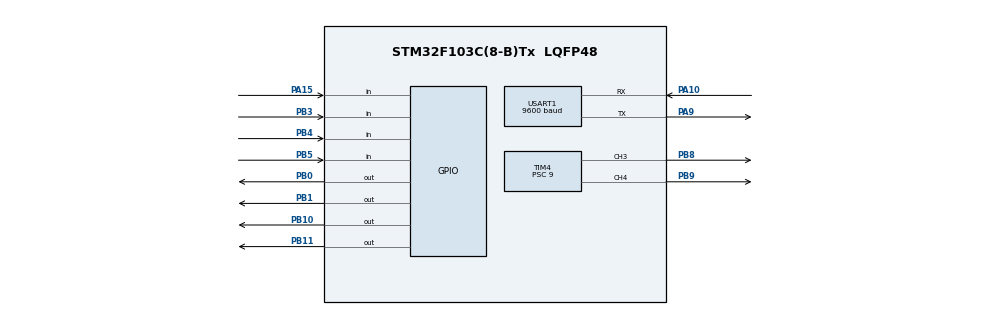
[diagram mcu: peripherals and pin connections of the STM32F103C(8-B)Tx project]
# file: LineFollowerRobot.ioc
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Dma.Request0=USART1_RX
Dma.Request1=USART1_TX
Dma.USART1_RX.0.Direction=DMA_PERIPH_TO_MEMORY
Dma.USART1_RX.0.Instance=DMA1_Channel5
Dma.USART1_RX.0.MemDataAlignment=DMA_MDATAALIGN_BYTE
Dma.USART1_RX.0.MemInc=DMA_MINC_ENABLE
Dma.USART1_RX.0.Mode=DMA_NORMAL
Dma.USART1_RX.0.PeriphDataAlignment=DMA_PDATAALIGN_BYTE
Dma.USART1_RX.0.PeriphInc=DMA_PINC_DISABLE
Dma.USART1_RX.0.Priority=DMA_PRIORITY_LOW
Dma.USART1_TX.1.Direction=DMA_MEMORY_TO_PERIPH
Dma.USART1_TX.1.Instance=DMA1_Channel4
Dma.USART1_TX.1.MemDataAlignment=DMA_MDATAALIGN_BYTE
Dma.USART1_TX.1.MemInc=DMA_MINC_ENABLE
Dma.USART1_TX.1.Mode=DMA_NORMAL
Dma.USART1_TX.1.PeriphDataAlignment=DMA_PDATAALIGN_BYTE
Dma.USART1_TX.1.PeriphInc=DMA_PINC_DISABLE
Dma.USART1_TX.1.Priority=DMA_PRIORITY_LOW
Mcu.Family=STM32F1
Mcu.Name=STM32F103C(8-B)Tx
Mcu.Package=LQFP48
NVIC.DMA1_Channel4_IRQn=true\:0\:0\:false\:false\:true\:false\:true
NVIC.DMA1_Channel5_IRQn=true\:0\:0\:false\:false\:true\:false\:true
NVIC.PriorityGroup=NVIC_PRIORITYGROUP_4
NVIC.TIM3_IRQn=true\:0\:0\:false\:false\:true\:true\:true
NVIC.USART1_IRQn=true\:0\:0\:false\:false\:true\:true\:true
PA10.Mode=Asynchronous
PA10.Signal=USART1_RX
PA13.Mode=Serial_Wire
PA13.Signal=SYS_JTMS-SWDIO
PA14.Mode=Serial_Wire
PA14.Signal=SYS_JTCK-SWCLK
PA15.Signal=GPIO_Input
PA9.Mode=Asynchronous
PA9.Signal=USART1_TX
PB0.Signal=GPIO_Output
PB1.Signal=GPIO_Output
PB10.Signal=GPIO_Output
PB11.Signal=GPIO_Output
PB3.Signal=GPIO_Input
PB4.Signal=GPIO_Input
PB5.Signal=GPIO_Input
PB8.Signal=S_TIM4_CH3
PB9.Signal=S_TIM4_CH4
PD0-OSC_IN.Mode=HSE-External-Oscillator
PD0-OSC_IN.Signal=RCC_OSC_IN
PD1-OSC_OUT.Mode=HSE-External-Oscillator
PD1-OSC_OUT.Signal=RCC_OSC_OUT
ProjectManager.HeapSize=0x200
ProjectManager.StackSize=0x400
ProjectManager.TargetToolchain=STM32CubeIDE
RCC.AHBFreq_Value=72000000
RCC.APB1CLKDivider=RCC_HCLK_DIV2
RCC.APB1Freq_Value=36000000
RCC.APB1TimFreq_Value=72000000
RCC.APB2Freq_Value=72000000
RCC.APB2TimFreq_Value=72000000
RCC.HCLKFreq_Value=72000000
RCC.PLLMUL=RCC_PLL_MUL9
RCC.PLLSourceVirtual=RCC_PLLSOURCE_HSE
RCC.SYSCLKFreq_VALUE=72000000
RCC.SYSCLKSource=RCC_SYSCLKSOURCE_PLLCLK
RCC.USBFreq_Value=72000000
SH.S_TIM4_CH3.0=TIM4_CH3,PWM Generation3 CH3
SH.S_TIM4_CH4.0=TIM4_CH4,PWM Generation4 CH4
TIM3.Period=199
TIM3.Prescaler=7199
TIM4.Channel-PWM\ Generation3\ CH3=TIM_CHANNEL_3
TIM4.Channel-PWM\ Generation4\ CH4=TIM_CHANNEL_4
TIM4.Period=254
TIM4.Prescaler=9
USART1.BaudRate=9600
USART1.VirtualMode=VM_ASYNC
VP_TIM3_VS_ClockSourceINT.Mode=Internal
VP_TIM4_VS_ClockSourceINT.Mode=Internal
board=custom

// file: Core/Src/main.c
/* USER CODE BEGIN Header */
/**
 ******************************************************************************
 * @file           : main.c
 * @brief          : Main program body
 ******************************************************************************
 * @attention
 *
 * <h2><center>&copy; Copyright (c) 2019 STMicroelectronics.
 * All rights reserved.</center></h2>
 *
 * This software component is licensed by ST under BSD 3-Clause license,
 * the "License"; You may not use this file except in compliance with the
 * License. You may obtain a copy of the License at:
 *                        opensource.org/licenses/BSD-3-Clause
 *
 ******************************************************************************
 */
/* USER CODE END Header */

#include "main.h"

/* USER CODE BEGIN Includes */
#include <PID.h>
#include <control.h>
#include "string.h"
#include "stdio.h"
#include <stdbool.h>
/* USER CODE END Includes */

/* USER CODE BEGIN PTD */
int kt = 0;
struct ControlPosition
{
    float vitri;
    bool goback;
};

struct ControlPosition vitri_st =
    { 0, false };

int presumindex = 0;
int i_SumIndexArry = 0;
static int demoutline = 0;
static struct ControlPosition previtri_st =
    { 0, false };
typedef enum
{
    STOP = 0,
    LINE_FOLLOW,
    MANUAL,
} mode;
mode mode_current = LINE_FOLLOW;
typedef enum
{
    LINE_OFF = 0,
    LINE_START,
} LINE_parameter;

typedef enum
{
    LINE_external = 0,
    LINE_internal,
} LINE_Control;

bool Line_ON = true;

void Control_Value_Line (int value);
void Control_vitri_Line (struct ControlPosition vitri_st);
void CONTROL ();

/* USER CODE END PTD */

/* USER CODE BEGIN PD */
typedef enum
{
    UART_START = 0,
    UART_APP,
} Uart_statemachine;
Uart_statemachine my_state = UART_START;
/* USER CODE END PD */

TIM_HandleTypeDef htim3;
TIM_HandleTypeDef htim4;
UART_HandleTypeDef huart1;
DMA_HandleTypeDef hdma_usart1_rx;
DMA_HandleTypeDef hdma_usart1_tx;

/* USER CODE BEGIN PV */
uint8_t pwm1 = 160;
uint8_t pwm2 = 160;
uint8_t offset = 10;
//uint8_t mode = 0;    // 2 : control   , 1: line follow
int i = 0;
int k = 0;
int kq = 0;
uint8_t S[4];
float result_PWM;
uint8_t Rx_buff[10];
PID_parameter PID_set_parameters =
    { .Kp = 30, .Ki = 0.0002, .Kd = 26, .Ts = 0.005, .PID_Saturation = 180,
            .error = 0, .pre_error = 0, .pre2_error = 0, .pre_Out = 0, .Out = 0 };
PID_parameter PID_set_parameters_160 =
    { .Kp = 30, .Ki = 0.0002, .Kd = 26, .Ts = 0.005, .PID_Saturation = 160,
            .error = 0, .pre_error = 0, .pre2_error = 0, .pre_Out = 0, .Out = 0 };
PID_parameter PID_set_parameters_120 =
    { .Kp = 30, .Ki = 0.0002, .Kd = 26, .Ts = 0.005, .PID_Saturation = 120,
            .error = 0, .pre_error = 0, .pre2_error = 0, .pre_Out = 0, .Out = 0 };
/* USER CODE END PV */

void SystemClock_Config (void);
static void MX_GPIO_Init (void);
static void MX_USART1_UART_Init (void);
static void MX_TIM4_Init (void);
static void MX_TIM3_Init (void);
static void MX_DMA_Init (void);
/* USER CODE BEGIN PFP */

/*
 PB0  ---> IN4
 PB1  ---> IN3
 PB10 ---> IN2
 PB11 ---> IN1
 */
void HAL_TIM_PeriodElapsedCallback (TIM_HandleTypeDef *htim)   // ngat 5ms
{
    if (htim->Instance == htim3.Instance)
    {
        if (mode_current == LINE_FOLLOW)
        {
            S[3] = HAL_GPIO_ReadPin (GPIOB, GPIO_PIN_5); // dat gia tri = 7 // ngoai cung ben trai
            S[2] = HAL_GPIO_ReadPin (GPIOB, GPIO_PIN_4); // dat gia tri = 5 // o giua ben trai
            S[1] = HAL_GPIO_ReadPin (GPIOB, GPIO_PIN_3); // dat gia tri = 3 // o giua ben phai
            S[0] = HAL_GPIO_ReadPin (GPIOA, GPIO_PIN_15); // dat gia tri = 1 // ngoai cung ben phai

            /*If Sensor detects line, add to sum Index*/
            for (int i = 0; i <= 3; i++)
            {
                if (S[i] == 0)
                {
                    i_SumIndexArry += (2 * i + 1);
                }
            }

            if (i_SumIndexArry == 0)
            {
                Line_ON = false; // khong bat line
            }
            else
            {
                Line_ON = true; // bat duoc line
            }

            if (Line_ON)
            {
                Control_Value_Line (i_SumIndexArry);
            }
            else
            {
                demoutline += 1;
                if (demoutline == 10) // out time line -> nhan lai tri tri truoc khi out
                {

                    vitri_st = previtri_st;
                    Control_vitri_Line (vitri_st);
                    Line_ON = true;
                    demoutline = 0;
                }
            }

            presumindex = i_SumIndexArry;
            i_SumIndexArry = 0;

        }
        else if (mode_current == STOP)
        {
            __HAL_TIM_SET_COMPARE(&htim4, TIM_CHANNEL_3, 0);
            __HAL_TIM_SET_COMPARE(&htim4, TIM_CHANNEL_4, 0);
        }
    }
}
/* USER CODE END PFP */

/* USER CODE BEGIN 0 */

void HAL_UART_RxCpltCallback (UART_HandleTypeDef *huart)
{
    if (huart->Instance == huart1.Instance)
    {
        switch (my_state)
        {
            case UART_START:
                {
                    if (Rx_buff[0] == 's')  // khi nhan nut start de bat dau
                    {
                        my_state = UART_APP;
                        HAL_UART_Receive_DMA (&huart1, Rx_buff, 1);
                        break;
                    }
                    else if (Rx_buff[0] == '1')  // khi nhan nut stop
                    {
                        my_state = UART_START;
                        HAL_UART_Receive_DMA (&huart1, Rx_buff, 1);
                        break;
                    }
                }
            case UART_APP:
                {
                    HAL_UART_Receive_DMA (&huart1, (uint8_t*) Rx_buff, 1);
                    if (Rx_buff[0] == 'f' || Rx_buff[0] == 'b'
                            || Rx_buff[0] == 'r' || Rx_buff[0] == 'l') // khi o che do dieu khien tay
                    {
                        mode_current = MANUAL;  // control
                        my_state = UART_APP;
                        HAL_UART_Receive_DMA (&huart1, Rx_buff, 1);
                    }
                    else if (Rx_buff[0] == 'i')
                    {
                        mode_current = STOP;

                    }
                    else if (Rx_buff[0] == 'd') // bat che do do line
                    {
                        mode_current = LINE_FOLLOW;  // che do do line
                        HAL_UART_Receive_DMA (&huart1, Rx_buff, 1);
                        my_state = UART_APP;
                    }
                    else if (Rx_buff[0] == 'k') // tat che do do line
                    {
                        mode_current = STOP;
                        HAL_UART_Receive_DMA (&huart1, Rx_buff, 1);
                        my_state = UART_APP;
                    }
                    break;
                }
        }
    }
}
/*-----------------------------------------------------------------------------
 @brief  Control_Value_Line
 @param
 light :         0    1    2    3
 Reference:      1    3    5    7
 */
void Control_Value_Line (int value)
{
    switch (value)
    {
        case 7:
            vitri_st.vitri = 1.8;
            vitri_st.goback = false;
            break;
        case (12 | 15):
            vitri_st.vitri = 1.65;
            vitri_st.goback = false;
            break;
        case 5:
            vitri_st.vitri = 1.4;
            vitri_st.goback = false;
            break;
        case 3:
            vitri_st.vitri = -1.4;
            vitri_st.goback = false;
            break;
        case 8:
            vitri_st.vitri = 0;
            vitri_st.goback = false;
            break;
        case 0:
            vitri_st.vitri = 0;
            vitri_st.goback = true;
            break;
        case (4 | 9):
            vitri_st.vitri = -1.65;
            vitri_st.goback = false;
            break;
        case 1:
            vitri_st.vitri = -1.8;
            vitri_st.goback = false;
            break;
        default:
            break;
    }
    Control_vitri_Line (vitri_st);
}

void Control_vitri_Line (struct ControlPosition vitri_st)
{
    previtri_st = vitri_st;
    //result_PWM = PID_PROCESS (&PID_set_parameters, vitri, 0);
    if ((vitri_st.vitri == 0) && (vitri_st.goback == false))
    {
        backward ();
        __HAL_TIM_SET_COMPARE(&htim4, TIM_CHANNEL_3, 190); //kenh 3 dong co trai
        __HAL_TIM_SET_COMPARE(&htim4, TIM_CHANNEL_4, 190); //kenh 4 dong co phai
    }
    else if ((vitri_st.vitri == 0) && (vitri_st.goback == true))
    {
        backward ();
        __HAL_TIM_SET_COMPARE(&htim4, TIM_CHANNEL_3, -180); //kenh 3 dong co trai
        __HAL_TIM_SET_COMPARE(&htim4, TIM_CHANNEL_4, -180); //kenh 4 dong co pha
    }
    if (vitri_st.vitri < 0)
    {
        if (vitri_st.vitri < -1.5)
        {
            backward ();
            __HAL_TIM_SET_COMPARE(&htim4, TIM_CHANNEL_3, 190); //kenh 3 dong co trai
            HAL_GPIO_WritePin (GPIOB, GPIO_PIN_10, GPIO_PIN_SET); // dong co phai
            HAL_GPIO_WritePin (GPIOB, GPIO_PIN_11, GPIO_PIN_RESET);
            result_PWM = PID_PROCESS (&PID_set_parameters_120, vitri_st.vitri, 0);
            __HAL_TIM_SET_COMPARE(&htim4, TIM_CHANNEL_4, result_PWM);
        }
        else
        {
            backward ();
            __HAL_TIM_SET_COMPARE(&htim4, TIM_CHANNEL_3, 190); //kenh 3 dong co trai
            result_PWM = PID_PROCESS (&PID_set_parameters_160, vitri_st.vitri, 0);
            __HAL_TIM_SET_COMPARE(&htim4, TIM_CHANNEL_4, result_PWM);
        }
    }
    if (vitri_st.vitri > 0)
    {
        if (vitri_st.vitri > 1.5)
        {
            backward ();
            __HAL_TIM_SET_COMPARE(&htim4, TIM_CHANNEL_4, 190); //kenh 4 dong co phai
            HAL_GPIO_WritePin (GPIOB, GPIO_PIN_1, GPIO_PIN_RESET); // dong co trai
            HAL_GPIO_WritePin (GPIOB, GPIO_PIN_0, GPIO_PIN_SET);
            result_PWM = PID_PROCESS (&PID_set_parameters_120, vitri_st.vitri, 0);
            __HAL_TIM_SET_COMPARE(&htim4, TIM_CHANNEL_3, result_PWM * (-1)); // kenh 3 dong co trai
        }
        else
        {
            backward ();
            __HAL_TIM_SET_COMPARE(&htim4, TIM_CHANNEL_4, 190); //kenh 4 dong co phai
            result_PWM = PID_PROCESS (&PID_set_parameters_160, vitri_st.vitri, 0);
            __HAL_TIM_SET_COMPARE(&htim4, TIM_CHANNEL_3, result_PWM * (-1)); // kenh 3 dong co trai
        }
    }

}
/* USER CODE END 0 */

int main (void)
{

    /* MCU Configuration--------------------------------------------------------*/

    /* Reset of all peripherals, Initializes the Flash interface and the Systick. */
    HAL_Init ();

    /* Configure the system clock */
    SystemClock_Config ();

    /* Initialize all configured peripherals */
    MX_GPIO_Init ();

    MX_TIM4_Init ();
    MX_TIM3_Init ();
    MX_DMA_Init ();
    MX_USART1_UART_Init ();
    /* USER CODE BEGIN 2 */
    HAL_TIM_PWM_Start (&htim4, TIM_CHANNEL_3);
    HAL_TIM_PWM_Start (&htim4, TIM_CHANNEL_4);
    HAL_TIM_Base_Start_IT (&htim3);
    HAL_UART_Receive_DMA (&huart1, Rx_buff, 1);
    /* USER CODE END 2 */

    /* Infinite loop */
    /* USER CODE BEGIN WHILE */
    while (1)
    {
        /*
         */
        /* USER CODE END WHILE */

    }
}

static void MX_TIM4_Init (void)
{

    TIM_ClockConfigTypeDef sClockSourceConfig =
        { 0 };
    TIM_MasterConfigTypeDef sMasterConfig =
        { 0 };
    TIM_OC_InitTypeDef sConfigOC =
        { 0 };

    htim4.Instance = TIM4;
    htim4.Init.Prescaler = 9;
    htim4.Init.CounterMode = TIM_COUNTERMODE_UP;
    htim4.Init.Period = 254;
    htim4.Init.ClockDivision = TIM_CLOCKDIVISION_DIV1;
    htim4.Init.AutoReloadPreload = TIM_AUTORELOAD_PRELOAD_DISABLE;
    if (HAL_TIM_Base_Init (&htim4) != HAL_OK)
    {
        Error_Handler ();
    }
    sClockSourceConfig.ClockSource = TIM_CLOCKSOURCE_INTERNAL;
    if (HAL_TIM_ConfigClockSource (&htim4, &sClockSourceConfig) != HAL_OK)
    {
        Error_Handler ();
    }
    if (HAL_TIM_PWM_Init (&htim4) != HAL_OK)
    {
        Error_Handler ();
    }
    sMasterConfig.MasterOutputTrigger = TIM_TRGO_RESET;
    sMasterConfig.MasterSlaveMode = TIM_MASTERSLAVEMODE_DISABLE;
    if (HAL_TIMEx_MasterConfigSynchronization (&htim4, &sMasterConfig)
            != HAL_OK)
    {
        Error_Handler ();
    }
    sConfigOC.OCMode = TIM_OCMODE_PWM1;
    sConfigOC.Pulse = 0;
    sConfigOC.OCPolarity = TIM_OCPOLARITY_HIGH;
    sConfigOC.OCFastMode = TIM_OCFAST_DISABLE;
    if (HAL_TIM_PWM_ConfigChannel (&htim4, &sConfigOC, TIM_CHANNEL_3) != HAL_OK)
    {
        Error_Handler ();
    }
    if (HAL_TIM_PWM_ConfigChannel (&htim4, &sConfigOC, TIM_CHANNEL_4) != HAL_OK)
    {
        Error_Handler ();
    }
    HAL_TIM_MspPostInit (&htim4);

}
void SystemClock_Config (void)
{
    RCC_OscInitTypeDef RCC_OscInitStruct =
        { 0 };
    RCC_ClkInitTypeDef RCC_ClkInitStruct =
        { 0 };

    /** Initializes the CPU, AHB and APB busses clocks
     */
    RCC_OscInitStruct.OscillatorType = RCC_OSCILLATORTYPE_HSE;
    RCC_OscInitStruct.HSEState = RCC_HSE_ON;
    RCC_OscInitStruct.HSEPredivValue = RCC_HSE_PREDIV_DIV1;
    RCC_OscInitStruct.HSIState = RCC_HSI_ON;
    RCC_OscInitStruct.PLL.PLLState = RCC_PLL_ON;
    RCC_OscInitStruct.PLL.PLLSource = RCC_PLLSOURCE_HSE;
    RCC_OscInitStruct.PLL.PLLMUL = RCC_PLL_MUL9;
    if (HAL_RCC_OscConfig (&RCC_OscInitStruct) != HAL_OK)
    {
        Error_Handler ();
    }
    /** Initializes the CPU, AHB and APB busses clocks
     */
    RCC_ClkInitStruct.ClockType = RCC_CLOCKTYPE_HCLK | RCC_CLOCKTYPE_SYSCLK
            | RCC_CLOCKTYPE_PCLK1 | RCC_CLOCKTYPE_PCLK2;
    RCC_ClkInitStruct.SYSCLKSource = RCC_SYSCLKSOURCE_PLLCLK;
    RCC_ClkInitStruct.AHBCLKDivider = RCC_SYSCLK_DIV1;
    RCC_ClkInitStruct.APB1CLKDivider = RCC_HCLK_DIV2;
    RCC_ClkInitStruct.APB2CLKDivider = RCC_HCLK_DIV1;

    if (HAL_RCC_ClockConfig (&RCC_ClkInitStruct, FLASH_LATENCY_2) != HAL_OK)
    {
        Error_Handler ();
    }
}

static void MX_TIM3_Init (void)
{

    TIM_ClockConfigTypeDef sClockSourceConfig =
        { 0 };
    TIM_MasterConfigTypeDef sMasterConfig =
        { 0 };

    htim3.Instance = TIM3;
    htim3.Init.Prescaler = 7199;
    htim3.Init.CounterMode = TIM_COUNTERMODE_UP;
    htim3.Init.Period = 49;
    htim3.Init.ClockDivision = TIM_CLOCKDIVISION_DIV1;
    htim3.Init.AutoReloadPreload = TIM_AUTORELOAD_PRELOAD_DISABLE;
    if (HAL_TIM_Base_Init (&htim3) != HAL_OK)
    {
        Error_Handler ();
    }
    sClockSourceConfig.ClockSource = TIM_CLOCKSOURCE_INTERNAL;
    if (HAL_TIM_ConfigClockSource (&htim3, &sClockSourceConfig) != HAL_OK)
    {
        Error_Handler ();
    }
    sMasterConfig.MasterOutputTrigger = TIM_TRGO_RESET;
    sMasterConfig.MasterSlaveMode = TIM_MASTERSLAVEMODE_DISABLE;
    if (HAL_TIMEx_MasterConfigSynchronization (&htim3, &sMasterConfig)
            != HAL_OK)
    {
        Error_Handler ();
    }

}

static void MX_USART1_UART_Init (void)
{

    huart1.Instance = USART1;
    huart1.Init.BaudRate = 9600;
    huart1.Init.WordLength = UART_WORDLENGTH_8B;
    huart1.Init.StopBits = UART_STOPBITS_1;
    huart1.Init.Parity = UART_PARITY_NONE;
    huart1.Init.Mode = UART_MODE_TX_RX;
    huart1.Init.HwFlowCtl = UART_HWCONTROL_NONE;
    huart1.Init.OverSampling = UART_OVERSAMPLING_16;
    if (HAL_UART_Init (&huart1) != HAL_OK)
    {
        Error_Handler ();
    }

}

static void MX_DMA_Init (void)
{

    /* DMA controller clock enable */
    __HAL_RCC_DMA1_CLK_ENABLE();

    /* DMA interrupt init */
    /* DMA1_Channel4_IRQn interrupt configuration */
    HAL_NVIC_SetPriority (DMA1_Channel4_IRQn, 0, 0);
    HAL_NVIC_EnableIRQ (DMA1_Channel4_IRQn);
    /* DMA1_Channel5_IRQn interrupt configuration */
    HAL_NVIC_SetPriority (DMA1_Channel5_IRQn, 0, 0);
    HAL_NVIC_EnableIRQ (DMA1_Channel5_IRQn);

}

static void MX_GPIO_Init (void)
{
    GPIO_InitTypeDef GPIO_InitStruct =
        { 0 };

    /* GPIO Ports Clock Enable */
    __HAL_RCC_GPIOD_CLK_ENABLE();
    __HAL_RCC_GPIOB_CLK_ENABLE();
    __HAL_RCC_GPIOA_CLK_ENABLE();

    /*Configure GPIO pin Output Level */
    HAL_GPIO_WritePin (GPIOB,
    GPIO_PIN_0 | GPIO_PIN_1 | GPIO_PIN_10 | GPIO_PIN_11, GPIO_PIN_RESET);

    /*Configure GPIO pins : PB0 PB1 PB10 PB11 */
    GPIO_InitStruct.Pin = GPIO_PIN_0 | GPIO_PIN_1 | GPIO_PIN_10 | GPIO_PIN_11;
    GPIO_InitStruct.Mode = GPIO_MODE_OUTPUT_PP;
    GPIO_InitStruct.Pull = GPIO_NOPULL;
    GPIO_InitStruct.Speed = GPIO_SPEED_FREQ_LOW;
    HAL_GPIO_Init (GPIOB, &GPIO_InitStruct);

    /*Configure GPIO pin : PA15 */
    GPIO_InitStruct.Pin = GPIO_PIN_15;
    GPIO_InitStruct.Mode = GPIO_MODE_INPUT;
    GPIO_InitStruct.Pull = GPIO_NOPULL;
    HAL_GPIO_Init (GPIOA, &GPIO_InitStruct);

    /*Configure GPIO pins : PB3 PB4 PB5 */
    GPIO_InitStruct.Pin = GPIO_PIN_3 | GPIO_PIN_4 | GPIO_PIN_5;
    GPIO_InitStruct.Mode = GPIO_MODE_INPUT;
    GPIO_InitStruct.Pull = GPIO_NOPULL;
    HAL_GPIO_Init (GPIOB, &GPIO_InitStruct);

}

void Error_Handler (void)
{
}

/************************ (C) COPYRIGHT STMicroelectronics *****END OF FILE****/
